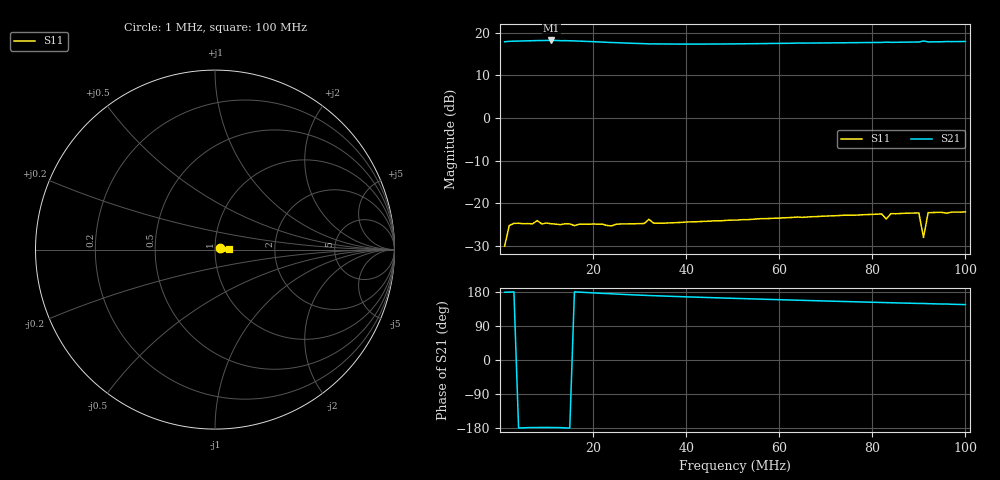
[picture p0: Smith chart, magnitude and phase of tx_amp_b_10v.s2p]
# HZ S RI R 50
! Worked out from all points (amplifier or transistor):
!   100 points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, 1 MHz to 100 MHz, reference 50 ohm
!   highest |S21| = 18.2 dB at 11 MHz (marker M1)
!   |S21| within 3 dB of that: start of sweep to end of sweep
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1000001  0.0306 0.00789  -7.82 0.1787  0 0  0 0
2000001  0.0549 0.00563  -7.918 0.1127  0 0  0 0
4000001  0.0585 0.00408  -7.969 -0.081  0 0  0 0
7000001  0.0576 0.00342  -8.046 -0.2643  0 0  0 0
1.1e7  0.0577 0.00462  -8.099 -0.2693  0 0  0 0
1.3e7  0.0562 -0.00553  -8.047 -0.209  0 0  0 0
1.4e7  0.0577 0.00425  -8.062 -0.1226  0 0  0 0
1.8e7  0.0572 0.00419  -7.923 0.2054  0 0  0 0
2.6e7  0.0573 0.0059  -7.548 0.8743  0 0  0 0
3.2e7  0.0652 0.0032  -7.273 1.263  0 0  0 0
3.4e7  0.0584 0.00776  -7.256 1.375  0 0  0 0
5.1e7  0.0632 0.00951  -7.051 2.229  0 0  0 0
6.7e7  0.0694 0.00928  -6.941 2.987  0 0  0 0
8.2e7  0.0752 0.00652  -6.77 3.639  0 0  0 0
8.3e7  0.0655 0.00551  -6.798 3.707  0 0  0 0
8.4e7  0.0759 0.00595  -6.745 3.724  0 0  0 0
9e7  0.0774 0.00436  -6.679 3.972  0 0  0 0
9.1e7  0.0372 -0.0146  -6.858 4.098  0 0  0 0
9.2e7  0.0781 0.0038  -6.654 4.053  0 0  0 0
9.5e7  0.0786 0.00308  -6.617 4.18  0 0  0 0
9.6e7  0.0764 -0.00863  -6.659 4.201  0 0  0 0
1e8  0.0797 0.00178  -6.553 4.388  0 0  0 0
